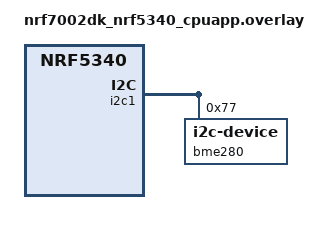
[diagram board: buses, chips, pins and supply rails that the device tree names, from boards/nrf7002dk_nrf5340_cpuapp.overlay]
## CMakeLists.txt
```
# SPDX-License-Identifier: Apache-2.0

cmake_minimum_required(VERSION 3.20.0)
find_package(Zephyr REQUIRED HINTS $ENV{ZEPHYR_BASE})
project(lab0)

target_sources(app PRIVATE
	src/main.c
	src/bme280_direct.c
)
target_include_directories(app PRIVATE
	src
	sum_printk
	sum_log
)

target_sources_ifdef(CONFIG_SUM_PRINT app PRIVATE sum_printk/sum_printk.c)
target_sources_ifdef(CONFIG_SUM_LOG app PRIVATE sum_log/sum_log.c)
```

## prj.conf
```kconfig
CONFIG_CONSOLE=y
CONFIG_UART_CONSOLE=y
CONFIG_LOG=y
CONFIG_LOG_DEFAULT_LEVEL=3
CONFIG_I2C=y
CONFIG_SENSOR=y
CONFIG_CBPRINTF_FP_SUPPORT=y
```

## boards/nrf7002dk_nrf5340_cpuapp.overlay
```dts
/* SPDX-License-Identifier: Apache-2.0 */

#include <zephyr/dt-bindings/pinctrl/nrf-pinctrl.h>

/ {
	aliases {
		led5180 = &led1;
		button5180 = &button0;
	};
};

&i2c1 {
	status = "okay";
	pinctrl-0 = <&i2c1_default>;
	pinctrl-1 = <&i2c1_sleep>;
	pinctrl-names = "default", "sleep";

	bme280: bme280@77 {
		compatible = "i2c-device";
		status = "okay";
		reg = <0x77>;
	};
};

&i2c1_default {
	group1 {
		psels = <NRF_PSEL(TWIM_SCL, 1, 14)>,
			<NRF_PSEL(TWIM_SDA, 1, 15)>;
	};
};

&i2c1_sleep {
	group1 {
		psels = <NRF_PSEL(TWIM_SCL, 1, 14)>,
			<NRF_PSEL(TWIM_SDA, 1, 15)>;
		low-power-enable;
	};
};
```

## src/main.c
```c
/*
 * SPDX-License-Identifier: Apache-2.0
 */

#include <zephyr/device.h>
#include <zephyr/drivers/i2c.h>
#include <zephyr/kernel.h>
#include <zephyr/logging/log.h>

#include "bme280_direct.h"

LOG_MODULE_REGISTER(lab0_bme280, CONFIG_LOG_DEFAULT_LEVEL);

#define BME280_NODE DT_NODELABEL(bme280)

#if !DT_NODE_EXISTS(BME280_NODE)
#error "BME280 devicetree node is missing"
#endif

static const struct i2c_dt_spec bme280 = I2C_DT_SPEC_GET(BME280_NODE);

int main(void)
{
	struct bme280_calib calib;
	int ret;

	if (!device_is_ready(bme280.bus)) {
		LOG_ERR("BME280 I2C bus is not ready");
		return 0;
	}

	ret = bme280_init(&bme280, &calib);
	if (ret < 0) {
		LOG_ERR("BME280 init failed: %d", ret);
		return 0;
	}

	while (1) {
		int32_t temp_centi;
		int32_t whole;
		int32_t frac;

		ret = bme280_read_temperature_centi(&bme280, &calib, &temp_centi);
		if (ret < 0) {
			LOG_ERR("BME280 temperature read failed: %d", ret);
		} else {
			whole = temp_centi / 100;
			frac = temp_centi % 100;
			if (frac < 0) {
				frac = -frac;
			}

			LOG_INF("BME280 temperature: %d.%02d C", whole, frac);
		}

		k_sleep(K_SECONDS(1));
	}
}
```

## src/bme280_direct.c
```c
/*
 * SPDX-License-Identifier: Apache-2.0
 */

#include <errno.h>
#include <stdint.h>
#include <zephyr/drivers/i2c.h>
#include <zephyr/kernel.h>

#include "bme280_direct.h"

#define BME280_REG_CHIP_ID 0xD0
#define BME280_REG_CTRL_MEAS 0xF4
#define BME280_REG_TEMP_MSB 0xFA
#define BME280_REG_CALIB_T1 0x88

#define BME280_CHIP_ID 0x60
#define BME280_CTRL_MEAS_TEMP_X1_NORMAL 0x23

static uint16_t u16_le(const uint8_t *buf)
{
	return (uint16_t)buf[0] | ((uint16_t)buf[1] << 8);
}

static int16_t s16_le(const uint8_t *buf)
{
	return (int16_t)u16_le(buf);
}

static int bme280_read_calibration(const struct i2c_dt_spec *dev,
				   struct bme280_calib *calib)
{
	uint8_t buf[6];
	int ret;

	ret = i2c_burst_read_dt(dev, BME280_REG_CALIB_T1, buf, sizeof(buf));
	if (ret < 0) {
		return ret;
	}

	calib->dig_t1 = u16_le(&buf[0]);
	calib->dig_t2 = s16_le(&buf[2]);
	calib->dig_t3 = s16_le(&buf[4]);

	return 0;
}

int bme280_init(const struct i2c_dt_spec *dev, struct bme280_calib *calib)
{
	uint8_t chip_id;
	int ret;

	ret = i2c_reg_read_byte_dt(dev, BME280_REG_CHIP_ID, &chip_id);
	if (ret < 0) {
		return ret;
	}

	if (chip_id != BME280_CHIP_ID) {
		return -ENODEV;
	}

	ret = bme280_read_calibration(dev, calib);
	if (ret < 0) {
		return ret;
	}

	ret = i2c_reg_write_byte_dt(dev, BME280_REG_CTRL_MEAS,
				    BME280_CTRL_MEAS_TEMP_X1_NORMAL);
	if (ret < 0) {
		return ret;
	}

	k_msleep(10);

	return 0;
}

int32_t bme280_compensate_temperature_centi(int32_t adc_temp,
					    const struct bme280_calib *calib)
{
	int32_t var1;
	int32_t var2;
	int32_t t_fine;

	var1 = ((((adc_temp >> 3) - ((int32_t)calib->dig_t1 << 1))) *
		((int32_t)calib->dig_t2)) >> 11;
	var2 = (((((adc_temp >> 4) - ((int32_t)calib->dig_t1)) *
		  ((adc_temp >> 4) - ((int32_t)calib->dig_t1))) >> 12) *
		((int32_t)calib->dig_t3)) >> 14;
	t_fine = var1 + var2;

	return (t_fine * 5 + 128) >> 8;
}

int bme280_read_temperature_centi(const struct i2c_dt_spec *dev,
				  const struct bme280_calib *calib,
				  int32_t *temp_centi)
{
	uint8_t buf[3];
	int32_t adc_temp;
	int ret;

	ret = i2c_burst_read_dt(dev, BME280_REG_TEMP_MSB, buf, sizeof(buf));
	if (ret < 0) {
		return ret;
	}

	adc_temp = ((int32_t)buf[0] << 12) | ((int32_t)buf[1] << 4) |
		   ((int32_t)buf[2] >> 4);
	*temp_centi = bme280_compensate_temperature_centi(adc_temp, calib);

	return 0;
}
```

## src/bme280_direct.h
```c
/*
 * SPDX-License-Identifier: Apache-2.0
 */

#ifndef BME280_DIRECT_H
#define BME280_DIRECT_H

#include <stdint.h>
#include <zephyr/drivers/i2c.h>

struct bme280_calib {
	uint16_t dig_t1;
	int16_t dig_t2;
	int16_t dig_t3;
};

int bme280_init(const struct i2c_dt_spec *dev, struct bme280_calib *calib);
int bme280_read_temperature_centi(const struct i2c_dt_spec *dev,
				  const struct bme280_calib *calib,
				  int32_t *temp_centi);
int32_t bme280_compensate_temperature_centi(int32_t adc_temp,
					    const struct bme280_calib *calib);

#endif
```
